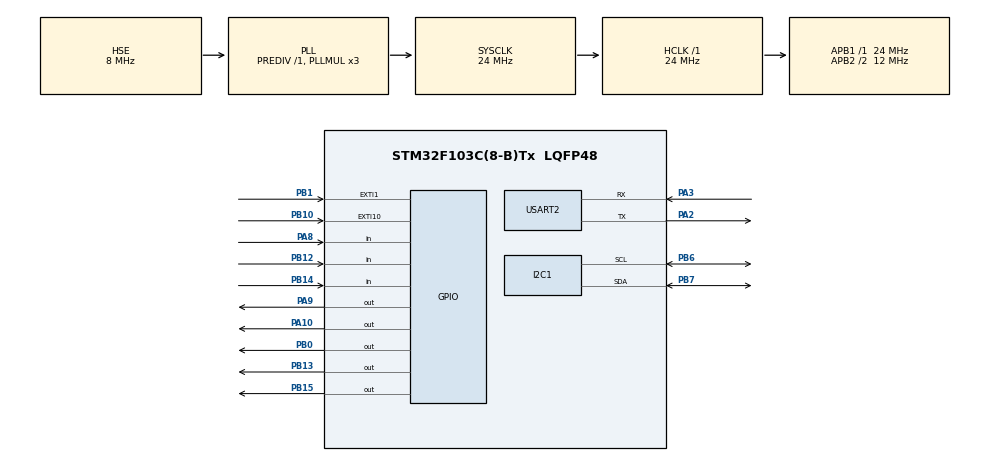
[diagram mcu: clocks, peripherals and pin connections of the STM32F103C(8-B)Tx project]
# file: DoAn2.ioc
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Mcu.Family=STM32F1
Mcu.Name=STM32F103C(8-B)Tx
Mcu.Package=LQFP48
NVIC.EXTI1_IRQn=true\:1\:0\:true\:false\:true\:true\:true\:true
NVIC.PriorityGroup=NVIC_PRIORITYGROUP_4
NVIC.USART2_IRQn=true\:1\:0\:true\:false\:true\:true\:true\:true
PA10.GPIO_PuPd=GPIO_PULLDOWN
PA10.Signal=GPIO_Output
PA13.Mode=Serial_Wire
PA13.Signal=SYS_JTMS-SWDIO
PA14.Mode=Serial_Wire
PA14.Signal=SYS_JTCK-SWCLK
PA2.Mode=Asynchronous
PA2.Signal=USART2_TX
PA3.Mode=Asynchronous
PA3.Signal=USART2_RX
PA8.GPIO_PuPd=GPIO_PULLDOWN
PA8.Signal=GPIO_Input
PA9.GPIO_PuPd=GPIO_PULLDOWN
PA9.Signal=GPIO_Output
PB0.GPIO_PuPd=GPIO_PULLDOWN
PB0.Signal=GPIO_Output
PB1.GPIO_ModeDefaultEXTI=GPIO_MODE_IT_RISING
PB1.GPIO_PuPd=GPIO_PULLDOWN
PB1.Signal=GPXTI1
PB10.GPIO_ModeDefaultEXTI=GPIO_MODE_IT_RISING
PB10.GPIO_PuPd=GPIO_PULLDOWN
PB10.Signal=GPXTI10
PB12.GPIO_PuPd=GPIO_PULLDOWN
PB12.Signal=GPIO_Input
PB13.GPIO_PuPd=GPIO_PULLDOWN
PB13.Signal=GPIO_Output
PB14.GPIO_PuPd=GPIO_PULLDOWN
PB14.Signal=GPIO_Input
PB15.GPIO_PuPd=GPIO_PULLDOWN
PB15.Signal=GPIO_Output
PB6.Mode=I2C
PB6.Signal=I2C1_SCL
PB7.Mode=I2C
PB7.Signal=I2C1_SDA
PD0-OSC_IN.Mode=HSE-External-Oscillator
PD0-OSC_IN.Signal=RCC_OSC_IN
PD1-OSC_OUT.Mode=HSE-External-Oscillator
PD1-OSC_OUT.Signal=RCC_OSC_OUT
ProjectManager.HeapSize=0x200
ProjectManager.StackSize=0x400
ProjectManager.TargetToolchain=STM32CubeIDE
RCC.AHBFreq_Value=24000000
RCC.APB1Freq_Value=24000000
RCC.APB1TimFreq_Value=24000000
RCC.APB2CLKDivider=RCC_HCLK_DIV2
RCC.APB2Freq_Value=12000000
RCC.APB2TimFreq_Value=24000000
RCC.HCLKFreq_Value=24000000
RCC.PLLMUL=RCC_PLL_MUL3
RCC.PLLSourceVirtual=RCC_PLLSOURCE_HSE
RCC.SYSCLKFreq_VALUE=24000000
RCC.SYSCLKSource=RCC_SYSCLKSOURCE_PLLCLK
RCC.USBFreq_Value=24000000
USART2.VirtualMode=VM_ASYNC
board=custom

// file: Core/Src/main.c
/* USER CODE BEGIN Header */
/**
  ******************************************************************************
  * @file           : main.c
  * @brief          : Main program body
  ******************************************************************************
  * @attention
  *
  * Copyright (c) 2024 STMicroelectronics.
  * All rights reserved.
  *
  * This software is licensed under terms that can be found in the LICENSE file
  * in the root directory of this software component.
  * If no LICENSE file comes with this software, it is provided AS-IS.
  *
  ******************************************************************************
  */
/* USER CODE END Header */
#include "main.h"

/* USER CODE BEGIN Includes */
#include "i2c-lcd.h"
#include "KeyPad.h"
#include "KeyPadConfig.h"
#include "EEPROM.h"
#include "stdbool.h"
#include "stdlib.h"
#include "stdio.h"
/* USER CODE END Includes */

/* USER CODE BEGIN PD */
#define MAX_PASSWORD 5
#define MAX_FINGERPRINT 10
#define PASSWORD_SIZE 4
#define MAX_FINGERPRINT 10
#define PAGE_SIZE 16     // in Bytes
#define PAGE_NUM  2048    // number of pages
#define START_PAGE_FINGERPRINT 30
/* USER CODE END PD */

/* USER CODE BEGIN PM */
enum statemachine {
	STATE_IDLE,
	STATE_OPENDOOR,
	STATE_DISABLE,
	STATE_SETTING
};
volatile enum statemachine currentstate = STATE_IDLE;

enum option{
	SETTING_PASSWORD,
	SETTING_FINGERPRINT,
	ADD_PASSWORD,
	DELETE_PASSWORD,
	ADD_FINGERPRINT,
	DELETE_FINGERPRINT
};
volatile enum option setting_password;
volatile enum option setting_fingerprint;

volatile uint8_t interrupt_flag1 = 0;
volatile uint8_t interrupt_flag10 = 0;
volatile uint8_t interrupt_uart2 = 0;
volatile int number_of_failure = 0;

uint8_t password[3];
uint8_t new_password[3];
uint8_t old_password[3];
uint8_t new_fingerprint[10];
uint8_t old_fingerprint[10];
uint8_t fingerprint[10];

/* USER CODE END PM */

I2C_HandleTypeDef hi2c1;

UART_HandleTypeDef huart2;

void SystemClock_Config(void);
static void MX_GPIO_Init(void);
static void MX_I2C1_Init(void);
static void MX_USART2_UART_Init(void);

/* USER CODE BEGIN 0 */
int check_pass_to_enter(uint8_t *password){
	uint8_t passwword_eeprom[3];
	for(int page = 0; page <= MAX_PASSWORD; page++){
		EEPROM_Read(page, 0, passwword_eeprom, 10);
		for(int i = 0; i < PASSWORD_SIZE; i++){
			if(password[i] != passwword_eeprom[i]){
				break;
			}
			if(i == PASSWORD_SIZE - 1){
				return 1;
				break;
			}
		}
	}
	return 0;
}

int check_slot_password(uint8_t *password){
	uint8_t buffer[PAGE_SIZE - 1];
	int empty_page;
	if(check_pass_to_enter(password) == 1){
		lcd_clear(); lcd_put_cur(0, 0); lcd_send_string(" ALREADY EXIST !!");
		HAL_Delay(500);
		return 2;
	}
	for(int page = 0; page <= MAX_PASSWORD; page++){
		EEPROM_Read(page, 0, buffer, PAGE_SIZE - 1);
		for(int x = 0; x <= PAGE_SIZE - 1; x++){
			if(buffer[x] != 0xFF){
				break;
			}
			if(x == (PAGE_SIZE - 1)){
				empty_page = page;
				EEPROM_Write(empty_page, 0, password, 4);
				return 1;
			}
		}
	}
	return 0;
}

int delete_password(uint8_t *password){
	uint8_t passwword_eeprom[3];
	for(int page = 0; page <= MAX_PASSWORD; page++){
		EEPROM_Read(page, 0, passwword_eeprom, 10);
		for(int i = 0; i < PASSWORD_SIZE; i++){
			if(password[i] != passwword_eeprom[i]){
				break;
			}
			if(i == PASSWORD_SIZE - 1){
				EEPROM_PageErase(page);
				return 1;
				break;
			}
		}
	}
	lcd_clear();
    lcd_put_cur(0, 0);
    lcd_send_string(" NOT EXIST !!");
    HAL_Delay(500);
	return 0;
}
/* USER CODE END 0 */

int main(void)
{

  /* MCU Configuration--------------------------------------------------------*/

  /* Reset of all peripherals, Initializes the Flash interface and the Systick. */
  HAL_Init();

  /* USER CODE BEGIN Init */
  lcd_init();
  lcd_clear();
  KeyPad_Init();

  /* USER CODE END Init */

  /* Configure the system clock */
  SystemClock_Config();

  /* Initialize all configured peripherals */
  MX_GPIO_Init();
  MX_I2C1_Init();
  MX_USART2_UART_Init();

  /* Infinite loop */
  /* USER CODE BEGIN WHILE */
  while (1)
  {
	  unsigned char press_keypad = KEYPAD_GetChar();
	  	  HAL_Delay(300);
	  	  switch(currentstate){
	  	  case STATE_IDLE:
	  		  lcd_clear();
	  		  lcd_put_cur(0, 0);
	  		  lcd_send_string("  PASSWORD");
	  		  lcd_put_cur(1, 0);
	  		  int i = 0;
	  		  while(1){
	  			  if(interrupt_flag1 == 1) break;												//�?ỌC CỜ NGẮT
	  			  if(interrupt_flag10 == 1) break;												//�?ỌC CỜ NGẮT
	  			  press_keypad = KEYPAD_GetChar();
	  			  if(press_keypad != 0){
	  				  lcd_send_data(press_keypad);
	  				  HAL_Delay(300);
	  				  password[i] = press_keypad;
	  				  i++;
	  				  if(i == 4){
	  					  if(check_pass_to_enter(password) == 1){
	  					   currentstate = STATE_OPENDOOR;                           //NẾU �?ÚNG THÌ MỞ CỬA
	  					   HAL_Delay(100);
	  					   lcd_clear();
	  					   lcd_put_cur(0, 0);
	  					   lcd_send_string("  SUCCESS !!");
	  					   lcd_put_cur(1, 0);
	  					   lcd_send_string("OPEN THE DOOR");
	  					   HAL_Delay(1000);
	  					   number_of_failure = 0;
	  					   lcd_clear();
	  					 }
	  					 if(check_pass_to_enter(password) == 0){
	  					   currentstate = STATE_IDLE;                           //NẾU SAI THÌ THÔI
	  					   HAL_Delay(100);
	  					   lcd_clear();
	  					   lcd_put_cur(0, 0);
	  					   lcd_send_string("  FAILED !!");
	  					   HAL_Delay(1000);
	  					   number_of_failure++;
	  					   if(number_of_failure == 5){
	  						   currentstate = STATE_DISABLE;
	  					   }
	  					   lcd_clear();
	  					   break;
	  					 }
	  				  }
	  			  }
	  		  }
	  		  break;

	  	  case STATE_DISABLE:
	  		  int y = 30;
	  		  for(int x = 0; x <= 30; x++){
	  			  y--;
	  			  lcd_clear();
	  			  lcd_put_cur(0, 0);
	  			  lcd_send_string("DISABLE");
	  			  lcd_put_cur(1, 0);
	  			  lcd_send_data(y + '0');
	  			  HAL_Delay(300);
	  		  }
	  		  currentstate = STATE_IDLE;
	  		  break;

	  	  case STATE_SETTING:
	  		  HAL_Delay(100);
	  			 interrupt_flag1 = 0;
	  			 lcd_put_cur(0, 0);
	  			 lcd_send_string("SETTING: 1.PASSWORD");
	  			 lcd_put_cur(1, 0);
	  			 lcd_send_string("         2.FINGERPRINT");
	  			 if(press_keypad == '1'){
	  				 HAL_Delay(200);  lcd_clear(); setting_password = SETTING_PASSWORD;
	  				 while(1){
	  					 if(interrupt_flag1 == 1) break;												//�?ỌC CỜ NGẮT
	  					 if(interrupt_flag10 == 1) break;												//�?ỌC CỜ NGẮT
	  					 switch(setting_password){
	  					 case SETTING_PASSWORD:
	  						 HAL_Delay(500);
	  						 lcd_put_cur(0, 0);
	  						 lcd_send_string("1. ADD PASS" );
	  						 lcd_put_cur(1, 0);
	  						 lcd_send_string("2. DELETE PASS");
	  						 press_keypad = KEYPAD_GetChar();
	  						 if(press_keypad == '1'){HAL_Delay(500);  lcd_clear(); setting_password = ADD_PASSWORD;}
	  						 if(press_keypad == '2'){HAL_Delay(500);  lcd_clear(); setting_password = DELETE_PASSWORD;}
	  						 break;

	  					 case ADD_PASSWORD:
	  						 try_again1:
	  						 lcd_clear();
	  						 lcd_put_cur(0, 0);
	  						 lcd_send_string("NEW PASSWORD");
	  						 lcd_put_cur(1, 0);
	  						 int t = 0;
	  						 while(1){
	  							 if(interrupt_flag1 == 1) break;												//�?ỌC CỜ NGẮT
	  							 if(interrupt_flag10 == 1) break;												//�?ỌC CỜ NGẮT
	  							 press_keypad = KEYPAD_GetChar();
	  							 HAL_Delay(500);
	  							 if(press_keypad != 0){
	  								 lcd_send_data(press_keypad);
	  								 new_password[t] = press_keypad;
	  								 t++;
	  								 press_keypad = KEYPAD_GetChar();
	  								 if(press_keypad == '#'){
	  									 if(t <= 4){
	  										 lcd_clear(); lcd_put_cur(0, 0); lcd_send_string(" TRY AGAIN !!");
	  										 HAL_Delay(500);
	  										 goto try_again1;
	  									 }
	  									 if(t == 5){
	  										 if(check_slot_password(new_password) == 1){
	  											 lcd_clear(); lcd_put_cur(0, 0); lcd_send_string(" SUCCESS !!");
	  											 HAL_Delay(500);
	  											 break;
	  										 }
	  										 else {
	  											 lcd_clear(); lcd_put_cur(0, 0); lcd_send_string(" UNSUCCESS !!");
	  											 HAL_Delay(500);
	  											 break;
	  										 }
	  									 }
	  								 }

	  							 }
	  						 }

	  						 break;

	  					 case DELETE_PASSWORD:
	  						 try_again2:
	  						 lcd_clear();
	  						 lcd_put_cur(0, 0);
	  						 lcd_send_string("OLD PASSWORD");
	  						 lcd_put_cur(1, 0);
	  						 int e = 0;
	  						 while(1){
	  							 if(interrupt_flag1 == 1) break;												//�?ỌC CỜ NGẮT
	  							 if(interrupt_flag10 == 1) break;												//�?ỌC CỜ NGẮT
	  							 if(press_keypad != 0){
	  								 lcd_send_data(press_keypad);
	  								 old_password[e] = press_keypad;
	  								 e++;
	  								 if((press_keypad == '#') && (e<4)){
	  									 lcd_clear(); lcd_put_cur(0, 0); lcd_send_string(" TRY AGAIN !!");
	  									 HAL_Delay(500);
	  									 goto try_again2;
	  								 }
	  								 if((press_keypad == '#') && (e == 4)){
	  									 if(delete_password(old_password) == 1){
	  										 lcd_clear(); lcd_put_cur(0, 0); lcd_send_string(" SUCCESS !!");
	  										 HAL_Delay(500);
	  										 break;
	  									 }
	  									 else{
	  										 lcd_clear(); lcd_put_cur(0, 0); lcd_send_string(" UNSUCCESS !!");
	  										 HAL_Delay(500);
	  										 break;
	  									 }
	  								 }
	  							 }
	  						 }
	  						 break;
	  					 }
	  				 }

	  			 }
	  			 if(press_keypad == '2'){
	  				 HAL_Delay(200);  lcd_clear(); setting_fingerprint = SETTING_FINGERPRINT;
	  				 while(1){
	  					 if(interrupt_flag1 == 1) break;												//�?ỌC CỜ NGẮT
	  					 if(interrupt_flag10 == 1) break;												//�?ỌC CỜ NGẮT
	  					 switch(setting_fingerprint){
	  					 case SETTING_FINGERPRINT:
	  						 HAL_Delay(100);
	  						 lcd_put_cur(0, 0);
	  						 lcd_send_string("1. ADD FINGERPRINT" );
	  						 lcd_put_cur(1, 0);
	  						 lcd_send_string("2. DELETE FINGERPRINT");
	  						 if(press_keypad == '1'){HAL_Delay(200);  lcd_clear(); setting_fingerprint = ADD_FINGERPRINT;}
	  						 if(press_keypad == '2'){HAL_Delay(200);  lcd_clear(); setting_fingerprint = DELETE_FINGERPRINT;}
	  						 break;

	  					 case ADD_FINGERPRINT:
	  						 lcd_clear();
	  						 lcd_put_cur(0, 0);
	  						 lcd_send_string("NEW FINGERPRINT" );
	  						 lcd_put_cur(1, 0);
	  						 int m = 0;
	  						 while(1){

	  						 }
	  						 break;

	  					 case DELETE_FINGERPRINT:
	  						 break;
	  					 }
	  				 }
	  			 }
	  		  break;

	  	  case STATE_OPENDOOR:
	  		  HAL_GPIO_WritePin(GPIOB, GPIO_PIN_0, 1);
	  		  HAL_Delay(500);
	  		  HAL_GPIO_WritePin(GPIOB, GPIO_PIN_0, 0);
	  		  HAL_Delay(100);
	  		  currentstate = STATE_IDLE;
	  		  interrupt_flag10 = 0;
	  		  break;
	  	  }
    /* USER CODE END WHILE */

  }
}

void SystemClock_Config(void)
{
  RCC_OscInitTypeDef RCC_OscInitStruct = {0};
  RCC_ClkInitTypeDef RCC_ClkInitStruct = {0};

  /** Initializes the RCC Oscillators according to the specified parameters
  * in the RCC_OscInitTypeDef structure.
  */
  RCC_OscInitStruct.OscillatorType = RCC_OSCILLATORTYPE_HSE;
  RCC_OscInitStruct.HSEState = RCC_HSE_ON;
  RCC_OscInitStruct.HSEPredivValue = RCC_HSE_PREDIV_DIV1;
  RCC_OscInitStruct.HSIState = RCC_HSI_ON;
  RCC_OscInitStruct.PLL.PLLState = RCC_PLL_ON;
  RCC_OscInitStruct.PLL.PLLSource = RCC_PLLSOURCE_HSE;
  RCC_OscInitStruct.PLL.PLLMUL = RCC_PLL_MUL3;
  if (HAL_RCC_OscConfig(&RCC_OscInitStruct) != HAL_OK)
  {
    Error_Handler();
  }

  /** Initializes the CPU, AHB and APB buses clocks
  */
  RCC_ClkInitStruct.ClockType = RCC_CLOCKTYPE_HCLK|RCC_CLOCKTYPE_SYSCLK
                              |RCC_CLOCKTYPE_PCLK1|RCC_CLOCKTYPE_PCLK2;
  RCC_ClkInitStruct.SYSCLKSource = RCC_SYSCLKSOURCE_PLLCLK;
  RCC_ClkInitStruct.AHBCLKDivider = RCC_SYSCLK_DIV1;
  RCC_ClkInitStruct.APB1CLKDivider = RCC_HCLK_DIV1;
  RCC_ClkInitStruct.APB2CLKDivider = RCC_HCLK_DIV2;

  if (HAL_RCC_ClockConfig(&RCC_ClkInitStruct, FLASH_LATENCY_0) != HAL_OK)
  {
    Error_Handler();
  }
}

static void MX_I2C1_Init(void)
{

  hi2c1.Instance = I2C1;
  hi2c1.Init.ClockSpeed = 100000;
  hi2c1.Init.DutyCycle = I2C_DUTYCYCLE_2;
  hi2c1.Init.OwnAddress1 = 0;
  hi2c1.Init.AddressingMode = I2C_ADDRESSINGMODE_7BIT;
  hi2c1.Init.DualAddressMode = I2C_DUALADDRESS_DISABLE;
  hi2c1.Init.OwnAddress2 = 0;
  hi2c1.Init.GeneralCallMode = I2C_GENERALCALL_DISABLE;
  hi2c1.Init.NoStretchMode = I2C_NOSTRETCH_DISABLE;
  if (HAL_I2C_Init(&hi2c1) != HAL_OK)
  {
    Error_Handler();
  }

}

static void MX_USART2_UART_Init(void)
{

  huart2.Instance = USART2;
  huart2.Init.BaudRate = 115200;
  huart2.Init.WordLength = UART_WORDLENGTH_8B;
  huart2.Init.StopBits = UART_STOPBITS_1;
  huart2.Init.Parity = UART_PARITY_NONE;
  huart2.Init.Mode = UART_MODE_TX_RX;
  huart2.Init.HwFlowCtl = UART_HWCONTROL_NONE;
  huart2.Init.OverSampling = UART_OVERSAMPLING_16;
  if (HAL_UART_Init(&huart2) != HAL_OK)
  {
    Error_Handler();
  }

}

static void MX_GPIO_Init(void)
{
  GPIO_InitTypeDef GPIO_InitStruct = {0};

  /* GPIO Ports Clock Enable */
  __HAL_RCC_GPIOD_CLK_ENABLE();
  __HAL_RCC_GPIOA_CLK_ENABLE();
  __HAL_RCC_GPIOB_CLK_ENABLE();

  /*Configure GPIO pin Output Level */
  HAL_GPIO_WritePin(GPIOB, GPIO_PIN_0|GPIO_PIN_13|GPIO_PIN_15, GPIO_PIN_RESET);

  /*Configure GPIO pin Output Level */
  HAL_GPIO_WritePin(GPIOA, GPIO_PIN_9|GPIO_PIN_10, GPIO_PIN_RESET);

  /*Configure GPIO pins : PB0 PB13 PB15 */
  GPIO_InitStruct.Pin = GPIO_PIN_0|GPIO_PIN_13|GPIO_PIN_15;
  GPIO_InitStruct.Mode = GPIO_MODE_OUTPUT_PP;
  GPIO_InitStruct.Pull = GPIO_PULLDOWN;
  GPIO_InitStruct.Speed = GPIO_SPEED_FREQ_LOW;
  HAL_GPIO_Init(GPIOB, &GPIO_InitStruct);

  /*Configure GPIO pins : PB1 PB10 */
  GPIO_InitStruct.Pin = GPIO_PIN_1|GPIO_PIN_10;
  GPIO_InitStruct.Mode = GPIO_MODE_IT_RISING;
  GPIO_InitStruct.Pull = GPIO_PULLDOWN;
  HAL_GPIO_Init(GPIOB, &GPIO_InitStruct);

  /*Configure GPIO pins : PB12 PB14 */
  GPIO_InitStruct.Pin = GPIO_PIN_12|GPIO_PIN_14;
  GPIO_InitStruct.Mode = GPIO_MODE_INPUT;
  GPIO_InitStruct.Pull = GPIO_PULLDOWN;
  HAL_GPIO_Init(GPIOB, &GPIO_InitStruct);

  /*Configure GPIO pin : PA8 */
  GPIO_InitStruct.Pin = GPIO_PIN_8;
  GPIO_InitStruct.Mode = GPIO_MODE_INPUT;
  GPIO_InitStruct.Pull = GPIO_PULLDOWN;
  HAL_GPIO_Init(GPIOA, &GPIO_InitStruct);

  /*Configure GPIO pins : PA9 PA10 */
  GPIO_InitStruct.Pin = GPIO_PIN_9|GPIO_PIN_10;
  GPIO_InitStruct.Mode = GPIO_MODE_OUTPUT_PP;
  GPIO_InitStruct.Pull = GPIO_PULLDOWN;
  GPIO_InitStruct.Speed = GPIO_SPEED_FREQ_LOW;
  HAL_GPIO_Init(GPIOA, &GPIO_InitStruct);

  /* EXTI interrupt init*/
  HAL_NVIC_SetPriority(EXTI1_IRQn, 1, 0);
  HAL_NVIC_EnableIRQ(EXTI1_IRQn);

}

/* USER CODE BEGIN 4 */
void HAL_GPIO_EXTI_Callback(uint16_t GPIO_Pin){
	if(GPIO_Pin == GPIO_PIN_1){
		currentstate = STATE_SETTING;
		interrupt_flag1 = 1;
		lcd_clear();
	}
	if(GPIO_Pin == GPIO_PIN_10){
		currentstate = STATE_OPENDOOR;
		interrupt_flag10 = 1;
	}
}

void HAL_UART_RxCpltCallback(UART_HandleTypeDef *huart){
	uint8_t fingerprint_eeprom[10];
	if(huart -> Instance == huart2.Instance){
		HAL_UART_Receive_IT(&huart2, fingerprint, sizeof(fingerprint));
		if(currentstate == STATE_IDLE){
			interrupt_uart2 = 0;
			for(int page = START_PAGE_FINGERPRINT; page <= MAX_FINGERPRINT; page++){
				EEPROM_Read(page, 0, fingerprint_eeprom, sizeof(fingerprint_eeprom));
				for(int f = 0; f <= sizeof(fingerprint); f++){
					if(fingerprint[f] != fingerprint_eeprom[f]){
						break;
					}
					if(f == sizeof(fingerprint)){
						lcd_clear(); lcd_put_cur(0, 0); lcd_send_string("OPEN DOOR");
						currentstate = STATE_OPENDOOR;
						interrupt_uart2 = 1;
						break;
					}
				}
				if(interrupt_uart2 == 1){
					break;
				}
			}
			if(interrupt_uart2 == 0){
				lcd_clear(); lcd_put_cur(0, 0); lcd_send_string("FAILURE");
				number_of_failure++;
				if(number_of_failure >= 5){
					currentstate = STATE_DISABLE;
					number_of_failure = 0;
				}
			}

		}
		if(setting_fingerprint == ADD_FINGERPRINT){

		}
	}
}
/* USER CODE END 4 */

void Error_Handler(void)
{
  __disable_irq();
  while (1)
  {
  }
}
